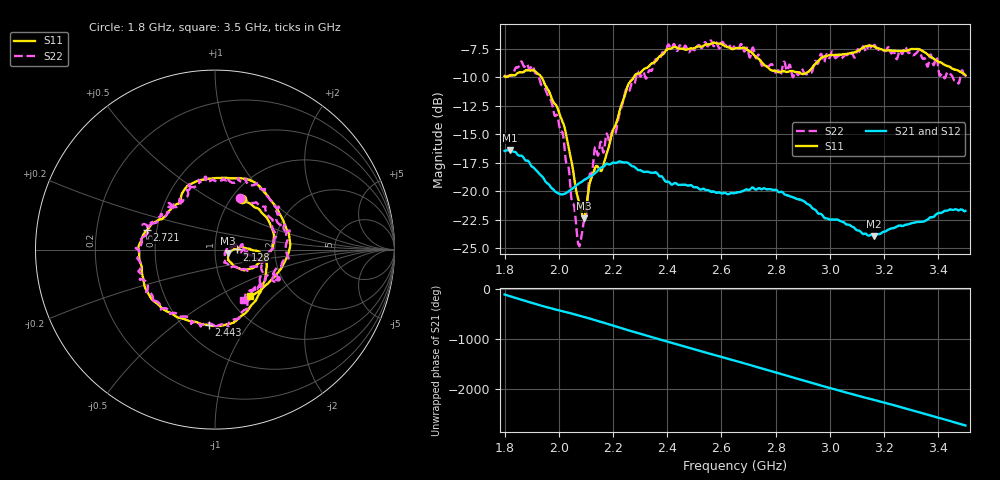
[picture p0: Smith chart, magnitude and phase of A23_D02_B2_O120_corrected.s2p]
! Created with skrf 1.9.0 (http://scikit-rf.org).
# Hz S RI R 50.0
!freq ReS11 ImS11 ReS21 ImS21 ReS12 ImS12 ReS22 ImS22
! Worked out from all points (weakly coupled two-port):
!   1601 points, 1.8 GHz to 3.5 GHz, reference 50 ohm
!   highest |S21| = -16.38 dB at 1.818 GHz (marker M1); lowest = -23.9 dB at 3.163 GHz (marker M2)
!   lowest |S11| = -22.4 dB at 2.092 GHz (marker M3), VSWR 1.17, Z = 57.8 - j2.51 ohm
!   |S11| at or under -10 dB: 1.936 GHz to 2.277 GHz (340.3 MHz wide, 16.2 % of centre)
!   |S22| runs from -24.8 to -6.8 dB; largest |S21 - S12| = 0.0025
!   S11 on the Smith chart (normalised r, x): 1.8 GHz: 1.12, +0.70; 2.128 GHz: 1.28, +0.00; 2.443 GHz: 0.66, -0.67; 2.721 GHz: 0.44, +0.11; 3.5 GHz: 1.26, -0.72
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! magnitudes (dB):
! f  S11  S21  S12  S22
! 1.8 GHz  -9.9  -16.5  -16.5  -10.0
! 1.818 GHz  -9.9  -16.4  -16.4  -9.9
! 1.902 GHz  -9.4  -17.8  -17.8  -9.0
! 1.968 GHz  -11.5  -19.6  -19.6  -11.9
! 2.021 GHz  -14.4  -20.2  -20.2  -16.2
! 2.071 GHz  -20.6  -19.4  -19.4  -24.5
! 2.084 GHz  -21.8  -19.2  -19.1  -23.9
! 2.092 GHz  -22.4  -19.0  -19.1  -22.7
! 2.128 GHz  -18.3  -18.5  -18.5  -17.1
! 2.162 GHz  -17.9  -17.9  -17.8  -16.5
! 2.209 GHz  -14.2  -17.5  -17.5  -14.9
! 2.259 GHz  -10.5  -17.6  -17.6  -11.2
! 2.367 GHz  -8.3  -18.6  -18.5  -8.5
! 2.443 GHz  -7.5  -19.4  -19.4  -7.3
! 2.65 GHz  -7.5  -20.1  -20.1  -7.2
! 2.721 GHz  -8.1  -19.8  -19.7  -7.8
! 2.81 GHz  -9.6  -20.1  -20.0  -9.4
! 2.934 GHz  -9.2  -21.4  -21.4  -9.6
! 3.163 GHz  -7.3  -23.9  -23.9  -7.2
! 3.217 GHz  -7.7  -23.3  -23.3  -7.4
! 3.33 GHz  -7.6  -22.7  -22.7  -7.7
! 3.5 GHz  -9.8  -21.7  -21.7  -9.9
